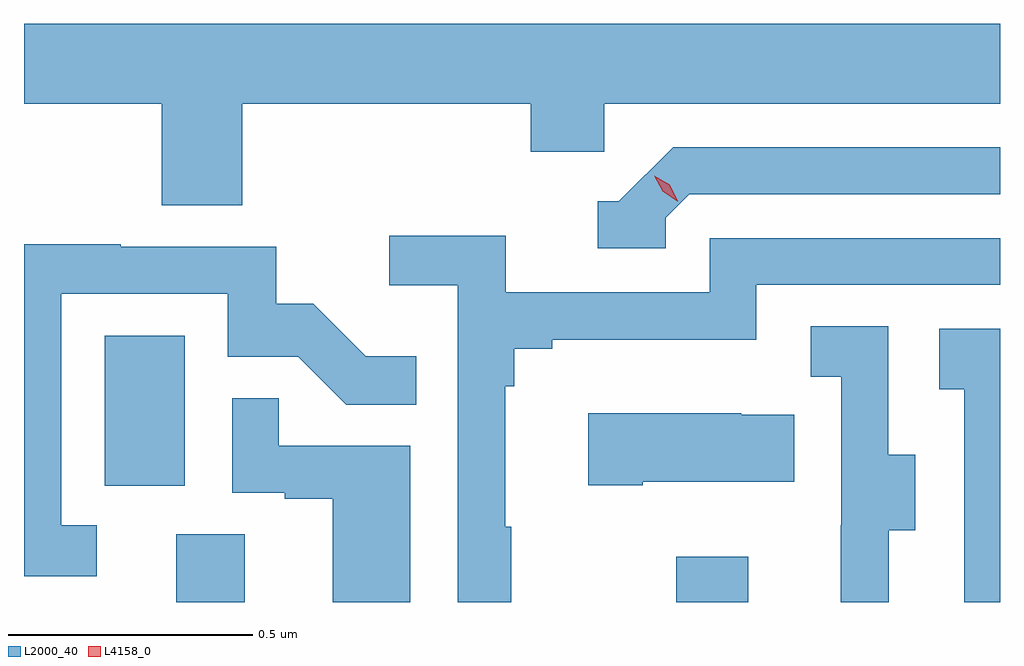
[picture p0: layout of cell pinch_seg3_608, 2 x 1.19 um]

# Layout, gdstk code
import gdstk
lib = gdstk.Library(unit=1e-6, precision=1e-09)
def R(c, l, rs):  # rectangles x0, y0, x1, y1
    for r in rs: c.add(gdstk.rectangle(r[:2], r[2:], *l))
def P(c, l, *ps):  # polygons
    for p in ps: c.add(gdstk.Polygon(p, *l))
L2000_40 = (2000, 40)
L4158_0 = (4158, 0)

pinch_seg3_608 = lib.new_cell('pinch_seg3_608')
R(pinch_seg3_608, L2000_40, [(1071.227,694.567,1071.367,694.706), (1072.252,694.567,1072.399,694.66), (1071.08,694.806,1071.244,695.113)])
P(pinch_seg3_608, L2000_40, [(1071.362,695.588),(1071.953,695.588),(1071.953,695.49),(1072.104,695.49),(1072.104,695.588),(1072.915,695.588),(1072.915,695.752),(1070.915,695.752),(1070.915,695.588),(1071.197,695.588),(1071.197,695.38),(1071.362,695.38)],
  [(1072.23,695.355),(1072.278,695.403),(1072.915,695.403),(1072.915,695.499),(1072.245,695.499),(1072.134,695.388),(1072.091,695.388),(1072.091,695.292),(1072.23,695.292)],
  [(1071.913,694.721),(1071.901,694.721),(1071.901,695.009),(1071.92,695.009),(1071.92,695.086),(1071.997,695.086),(1071.997,695.105),(1072.416,695.105),(1072.416,695.217),(1072.915,695.217),(1072.915,695.313),(1072.32,695.313),(1072.32,695.202),(1071.902,695.202),(1071.902,695.318),(1071.663,695.318),(1071.663,695.216),(1071.804,695.216),(1071.804,694.567),(1071.913,694.567)],
  [(1071.064,694.725),(1070.991,694.725),(1070.991,695.199),(1071.333,695.199),(1071.333,695.07),(1071.477,695.07),(1071.575,694.972),(1071.719,694.972),(1071.719,695.071),(1071.615,695.071),(1071.508,695.178),(1071.432,695.178),(1071.432,695.295),(1071.113,695.295),(1071.113,695.3),(1070.915,695.3),(1070.915,694.62),(1071.064,694.62)],
  [(1072.687,694.714),(1072.741,694.714),(1072.741,694.869),(1072.686,694.869),(1072.686,695.132),(1072.527,695.132),(1072.527,695.029),(1072.59,695.029),(1072.59,694.725),(1072.589,694.725),(1072.589,694.567),(1072.687,694.567)],
  [(1072.915,695.127),(1072.791,695.127),(1072.791,695.003),(1072.842,695.003),(1072.842,694.567),(1072.915,694.567)],
  [(1071.706,694.887),(1071.437,694.887),(1071.437,694.985),(1071.342,694.985),(1071.342,694.791),(1071.449,694.791),(1071.449,694.779),(1071.548,694.779),(1071.548,694.567),(1071.706,694.567)],
  [(1072.183,694.814),(1072.493,694.814),(1072.493,694.951),(1072.385,694.951),(1072.385,694.954),(1072.071,694.954),(1072.071,694.807),(1072.183,694.807)])
P(pinch_seg3_608, L4158_0, [(1072.254,695.389),(1072.224,695.409),(1072.207,695.441),(1072.207,695.441),(1072.207,695.441),(1072.238,695.422),(1072.255,695.39),(1072.255,695.389)])

lib.write_gds('pinch_seg3_608.gds')
